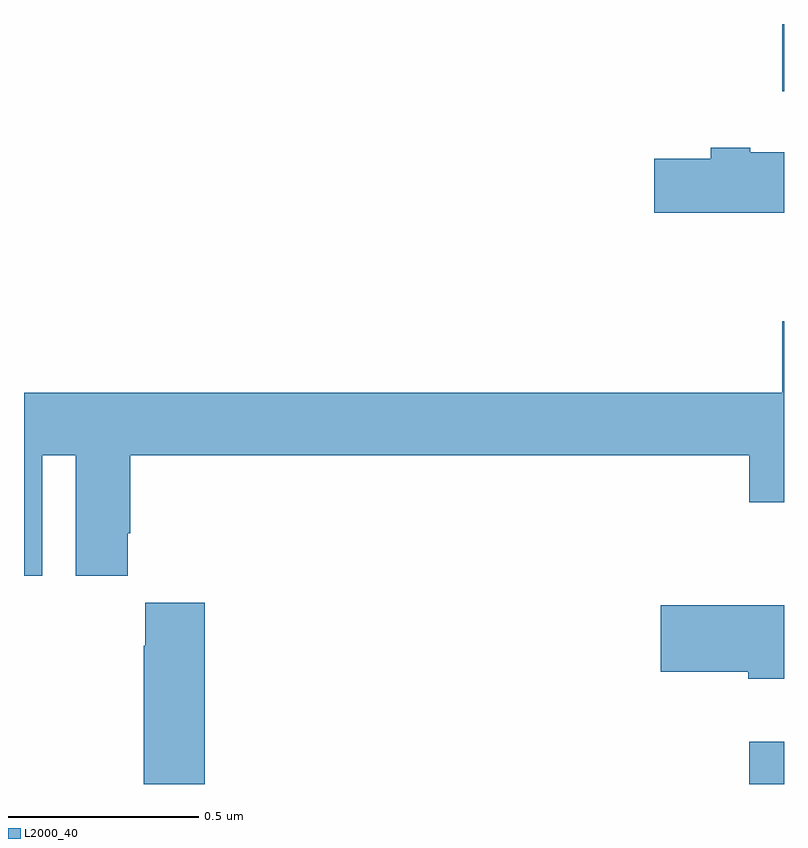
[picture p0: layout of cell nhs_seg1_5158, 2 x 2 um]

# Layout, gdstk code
import gdstk
lib = gdstk.Library(unit=1e-6, precision=1e-09)
def R(c, l, rs):  # rectangles x0, y0, x1, y1
    for r in rs: c.add(gdstk.rectangle(r[:2], r[2:], *l))
def P(c, l, *ps):  # polygons
    for p in ps: c.add(gdstk.Polygon(p, *l))
L2000_40 = (2000, 40)

nhs_seg1_5158 = lib.new_cell('nhs_seg1_5158')
R(nhs_seg1_5158, L2000_40, [(176.909,552.199,177,552.31), (176.996,554.022,177,554.199)])
P(nhs_seg1_5158, L2000_40, [(177,553.861),(176.911,553.861),(176.911,553.874),(176.807,553.874),(176.807,553.844),(176.658,553.844),(176.658,553.702),(177,553.702)],
  [(175.048,553.064),(175.136,553.064),(175.136,552.747),(175.273,552.747),(175.273,552.859),(175.28,552.859),(175.28,553.064),(176.909,553.064),(176.909,552.94),(177,552.94),(177,553.417),(176.996,553.417),(176.996,553.228),(175,553.228),(175,552.747),(175.048,552.747)],
  [(175.475,552.676),(175.319,552.676),(175.319,552.563),(175.315,552.563),(175.315,552.199),(175.475,552.199)],
  [(177,552.67),(176.676,552.67),(176.676,552.494),(176.906,552.494),(176.906,552.476),(177,552.476)])

lib.write_gds('nhs_seg1_5158.gds')
